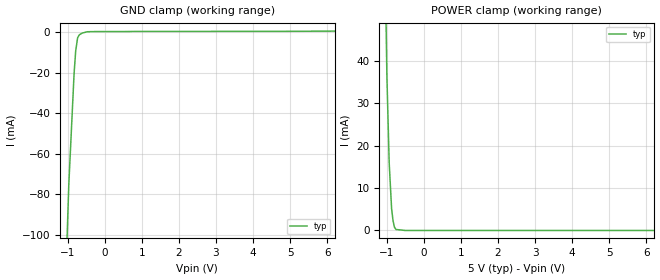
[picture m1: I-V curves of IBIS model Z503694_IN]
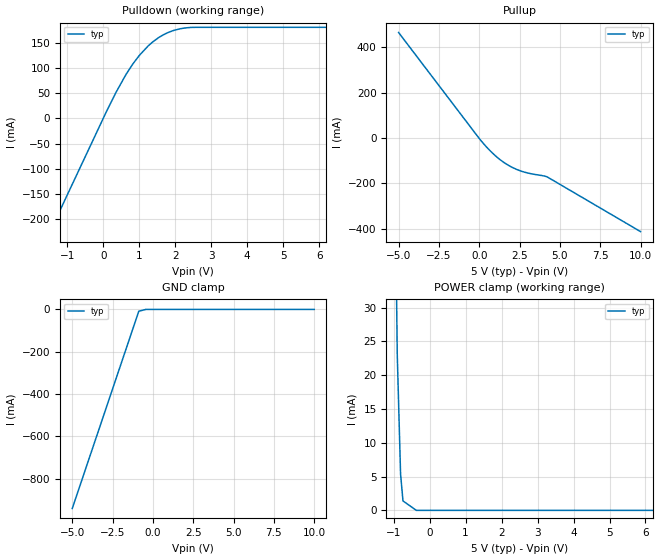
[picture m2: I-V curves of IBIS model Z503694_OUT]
| YOU ARE ONLY AUTHORIZED TO USE THIS SOFTWARE
| ACCORDING TO LICENSOR'S LICENSE RESTRICTIONS.
[IBIS Ver] 3.1
[File Name] mc74ac00d_5.ibs
[File Rev] 2.0
[Source] Measured and created by ICX Technology
[Date] Friday 7/14/00 9:07:57 AM
[Copyright]
| (C) COPYRIGHT 1993-2000
| MENTOR GRAPHICS CORPORATION
| ICX STANDARD LIBRARY, ICX PROJECT MODELING,
| ICX CUSTOM MODELING, ICX VENDOR MODEL
| ALL RIGHTS RESERVED.
| THE FOLLOWING ARE TRADEMARKS OR SERVICE MARKS OF
| MENTOR GRAPHICS CORPORATION:ICX (R), ICX STANDARD
| LIBRARY(R), ICX PROJECT MODELING(R), ICX CUSTOM
| MODELING(R), qualityIBIS(TM), MODELVIEWER(TM),
| AND MODELEDITOR(TM)
| ALL COPIES OF SOFTWARE, INCLUDING BUT NOT LIMITED TO
| ANY MODIFICATIONS, ENHANCEMENTS OR DERIVATIVE WORKS,
| MUST CONTAIN ALL MENTOR GRAPHICS CORPORATION'S
| NOTICES AND LEGENDS, INCLUDING THOSE EMBEDDED IN
| SOFTWARE AND THOSE AFFIXED TO SOFTWARE MEDIUM
| AND CONTAINER, AS RECEIVED FROM MENTOR GRAPHICS
| CORPORATION.
|  ZAP Model Builder 2.7
[Component] MC74AC00D_5
[Manufacturer] OnSemiconductor
[Package]
| variable   typ   min   max
R_pkg  .155ohms NA NA
L_pkg  3.028nH NA NA
C_pkg  .381pF NA NA
[Pin] signal_name  model_name  R_pin  L_pin C_pin
1 1A Z503694_IN .16 3.587n .407p
2 1B Z503694_IN .156 3.147n .387p
3 1Y Z503694_OUT .152 2.717n .367p
4 2A Z503694_IN .148 2.297n .347p
5 2B Z503694_IN .152 2.717n .367p
6 2Y Z503694_OUT .156 3.147n .387p
7 GND GND .16 3.587n .407p
8 3Y Z503694_OUT .16 3.587n .407p
9 3A Z503694_IN .156 3.147n .387p
10 3B Z503694_IN .152 2.717n .367p
11 4Y Z503694_OUT .148 2.297n .347p
12 4A Z503694_IN .152 2.717n .367p
13 4B Z503694_IN .156 3.147n .387p
14 VCC POWER .16 3.587n .407p
| Models and submodels in the file (2): Z503694_IN (Input), Z503694_OUT (Output)
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| (C) COPYRIGHT 1993-2000
| MENTOR GRAPHICS CORPORATION
| ICX STANDARD LIBRARY, ICX PROJECT MODELING,
| ICX CUSTOM MODELING, ICX VENDOR MODEL
| ALL RIGHTS RESERVED.
| THE FOLLOWING ARE TRADEMARKS OR SERVICE MARKS OF
| MENTOR GRAPHICS CORPORATION:ICX (R), ICX STANDARD
| LIBRARY(R), ICX PROJECT MODELING(R), ICX CUSTOM
| MODELING(R), qualityIBIS(TM), MODELVIEWER(TM),
| AND MODELEDITOR(TM)
| ALL COPIES OF SOFTWARE, INCLUDING BUT NOT LIMITED TO
| ANY MODIFICATIONS, ENHANCEMENTS OR DERIVATIVE WORKS,
| MUST CONTAIN ALL MENTOR GRAPHICS CORPORATION'S
| NOTICES AND LEGENDS, INCLUDING THOSE EMBEDDED IN
| SOFTWARE AND THOSE AFFIXED TO SOFTWARE MEDIUM
| AND CONTAINER, AS RECEIVED FROM MENTOR GRAPHICS
| CORPORATION.
| Model Application Version 1.89 2/18/99.
[Model] Z503694_IN
Model_type Input
Vinl = 1.500V
Vinh = 3.500V
C_comp 4.000pF NA NA
| variable typ   min   max
[Voltage Range] 5.000V NA NA
[GND Clamp Reference] 0.000V NA NA
[POWER Clamp Reference] 5.000V NA NA
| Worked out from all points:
|   GND clamp passes 1 mA (typ) near -0.64 V on its own axis
|   POWER clamp passes 1 mA (typ) near -0.80 V on its own axis
[GND Clamp]
-5V       -2.337A    NA         NA
-966.8mV  -75.27mA   NA         NA
-825.5mV  -20.92mA   NA         NA
-781mV    -9.301mA   NA         NA
-728.9mV  -2.875mA   NA         NA
-685.2mV  -1.462mA   NA         NA
-610.2mV  -600.1uA   NA         NA
-468.8mV  90.82uA    NA         NA
-234.4mV  187.7uA    NA         NA
10V       691.5uA    NA         NA
[POWER Clamp]
-5V       3.531A     NA         NA
-1.23V    189.2mA    NA         NA
-1.108V   98.47mA    NA         NA
-996mV    36.26mA    NA         NA
-934mV    15.86mA    NA         NA
-869mV    5.088mA    NA         NA
-830mV    2.274mA    NA         NA
-793mV    799.7uA    NA         NA
-752mV    235.8uA    NA         NA
-501.3mV  0A         NA         NA
10V       0A         NA         NA
| (C) COPYRIGHT 1993-2000
| MENTOR GRAPHICS CORPORATION
| ICX STANDARD LIBRARY, ICX PROJECT MODELING,
| ICX CUSTOM MODELING, ICX VENDOR MODEL
| ALL RIGHTS RESERVED.
| THE FOLLOWING ARE TRADEMARKS OR SERVICE MARKS OF
| MENTOR GRAPHICS CORPORATION:ICX (R), ICX STANDARD
| LIBRARY(R), ICX PROJECT MODELING(R), ICX CUSTOM
| MODELING(R), qualityIBIS(TM), MODELVIEWER(TM),
| AND MODELEDITOR(TM)
| ALL COPIES OF SOFTWARE, INCLUDING BUT NOT LIMITED TO
| ANY MODIFICATIONS, ENHANCEMENTS OR DERIVATIVE WORKS,
| MUST CONTAIN ALL MENTOR GRAPHICS CORPORATION'S
| NOTICES AND LEGENDS, INCLUDING THOSE EMBEDDED IN
| SOFTWARE AND THOSE AFFIXED TO SOFTWARE MEDIUM
| AND CONTAINER, AS RECEIVED FROM MENTOR GRAPHICS
| CORPORATION.
| Model Application Version 1.89 2/18/99.
[Model] Z503694_OUT
Model_type Output
Vref=0.000V
Rref=500.0ohms
Cref=50.00pF
Vmeas=2.500V
C_comp 8.000pF NA NA
| variable typ   min   max
[Voltage Range] 5.000V NA NA
[POWER Clamp Reference] 5.000V NA NA
[Pullup Reference] 5.000V NA NA
[Pulldown Reference] 0.000V NA NA
[GND Clamp Reference] 0.000V NA NA
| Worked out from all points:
|   slope of the pulldown table from 0 to 0.75 V, typ, clamps not added: 7.51 ohm
|   slope of the pullup table from 0 to 0.75 V, typ, clamps not added: 12.6 ohm
[GND Clamp]
-5V       -941.6mA   NA         NA
-875.6mV  -8.527mA   NA         NA
-437.8mV  0A         NA         NA
10V       0A         NA         NA
[Pulldown]
-5V       -759.7mA   NA         NA
90.98mV   14.27mA    NA         NA
351.6mV   51.6mA     NA         NA
630.1mV   87.26mA    NA         NA
825.3mV   108.6mA    NA         NA
1.007V    125.6mA    NA         NA
1.377V    152.1mA    NA         NA
1.548V    161mA      NA         NA
1.797V    170.5mA    NA         NA
2.149V    178.2mA    NA         NA
2.468V    180.8mA    NA         NA
10V       180.9mA    NA         NA
[Pullup]
-5V       465.3mA    NA         NA
36mV      -5.596mA   NA         NA
700mV     -58.33mA   NA         NA
1.26V     -94.1mA    NA         NA
1.807V    -120.6mA   NA         NA
2.349V    -139.6mA   NA         NA
2.832V    -151.2mA   NA         NA
4.213V    -171.7mA   NA         NA
10V       -413.1mA   NA         NA
[POWER Clamp]
-5V       2.438A     NA         NA
-1.089V   107.7mA    NA         NA
-901mV    23.09mA    NA         NA
-809mV    5.382mA    NA         NA
-742mV    1.396mA    NA         NA
-371mV    0A         NA         NA
10V       0A         NA         NA
[Ramp]
| variable typ min max
dV/dt_r 2.950/416.0p NA NA
dV/dt_f 2.950/667.1p NA NA
R_load = 500.0Ohms
